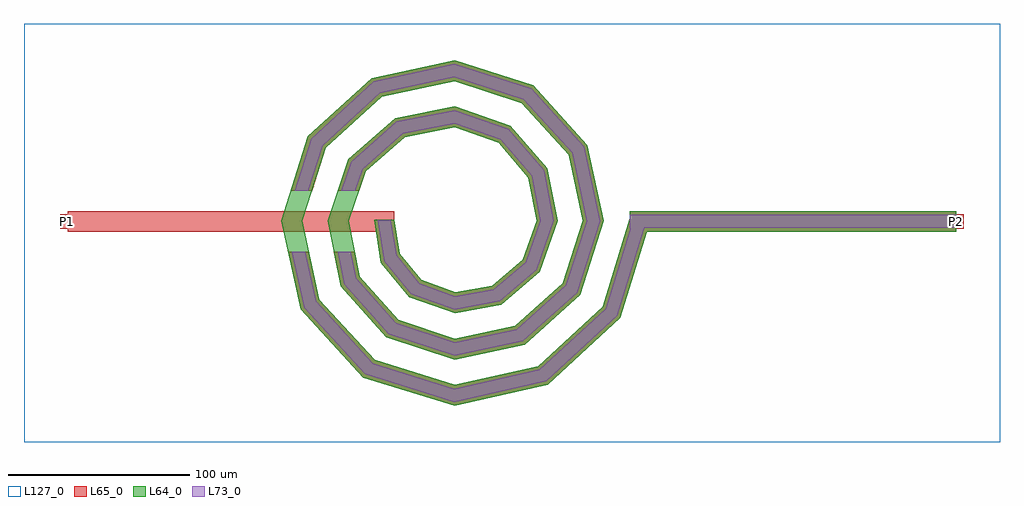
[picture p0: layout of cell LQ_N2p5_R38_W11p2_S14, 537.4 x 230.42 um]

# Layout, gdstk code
import gdstk
lib = gdstk.Library(unit=1e-6, precision=1e-09)
def R(c, l, rs):  # rectangles x0, y0, x1, y1
    for r in rs: c.add(gdstk.rectangle(r[:2], r[2:], *l))
def P(c, l, *ps):  # polygons
    for p in ps: c.add(gdstk.Polygon(p, *l))
L64_0 = (64, 0)
L65_0 = (65, 0)
L73_0 = (73, 0)
L127_0 = (127, 0)

lq_n2p5_r38_w11p2_s14 = lib.new_cell('LQ_N2p5_R38_W11p2_S14')
R(lq_n2p5_r38_w11p2_s14, L64_0, [(96.565,-5.6,276.565,5.6)])
P(lq_n2p5_r38_w11p2_s14, L64_0, [(-29.845,-17.883),(-17.99,-32.234),(0.511,-39.033),(21,-35.397),(37.713,-21.234),(45.401,0.448),(40.942,24.135),(24.465,43.203),(0.399,51.77),(-27.28,46.481),(-48.698,27.687),(-58.141,0.359),(-52.017,-30.433),(-30.902,-54.198),(0.327,-64.512),(33.592,-57.55),(59.701,-34.113),(70.883,0.299),(63.08,36.756),(37.32,65.207),(0.276,77.255),(-39.923,68.609),(-70.715,40.524),(-83.627,0.257),(-74.137,-43.093),(-43.725,-76.224),(0.24,-89.999),(46.264,-79.663),(81.735,-46.925),(96.816,1.66),(107.513,-1.66),(91.54,-53.116),(51.652,-89.933),(0.24,-101.585),(-49.943,-86.013),(-84.421,-48.451),(-95.212,0.257),(-80.485,46.772),(-45.248,78.911),(0.276,88.839),(43.603,74.955),(73.402,42.042),(82.465,0.299),(69.423,-40.437),(38.833,-67.895),(0.327,-76.091),(-37.275,-63.888),(-62.39,-35.62),(-69.717,0.359),(-58.351,34.118),(-32.401,56.888),(0.399,63.342),(30.967,52.808),(51.39,29.173),(56.966,0.448),(47.26,-27.825),(25.935,-45.897),(0.511,-50.589),(-24.696,-41.702),(-40.411,-22.679),(-43.965,0.902),(-32.911,0.902)])
R(lq_n2p5_r38_w11p2_s14, L65_0, [(-212.838,-5.6,-32.838,5.6), (96.565,-5.6,276.565,5.6), (-216.838,-4,-208.838,4), (272.565,-4,280.565,4)])
P(lq_n2p5_r38_w11p2_s14, L65_0, [(-74.137,-43.093),(-43.725,-76.224),(0.24,-89.999),(46.265,-79.663),(81.735,-46.925),(96.816,1.66),(107.513,-1.66),(91.54,-53.116),(51.652,-89.933),(0.24,-101.585),(-49.943,-86.013),(-84.421,-48.451),(-91.433,-16.8),(-79.962,-16.8)],
  [(-52.017,-30.433),(-30.903,-54.198),(0.327,-64.512),(33.592,-57.55),(59.701,-34.113),(70.883,0.299),(63.08,36.756),(37.32,65.207),(0.277,77.255),(-39.923,68.609),(-70.715,40.524),(-78.226,16.8),(-89.974,16.8),(-80.485,46.772),(-45.248,78.911),(0.277,88.839),(43.603,74.955),(73.402,42.043),(82.465,0.299),(69.423,-40.437),(38.833,-67.895),(0.327,-76.091),(-37.275,-63.889),(-62.39,-35.62),(-66.223,-16.8),(-54.793,-16.8)],
  [(-17.99,-32.234),(0.511,-39.033),(21.001,-35.397),(37.713,-21.234),(45.401,0.448),(40.942,24.135),(24.465,43.203),(0.399,51.77),(-27.28,46.481),(-48.698,27.687),(-52.364,16.8),(-64.181,16.8),(-58.351,34.118),(-32.401,56.888),(0.399,63.342),(30.967,52.808),(51.39,29.173),(56.966,0.448),(47.26,-27.825),(25.935,-45.897),(0.511,-50.589),(-24.696,-41.702),(-40.411,-22.679),(-43.965,0.902),(-32.911,0.902),(-29.845,-17.883)])
R(lq_n2p5_r38_w11p2_s14, L73_0, [(96.565,-3.6,276.565,3.6)])
P(lq_n2p5_r38_w11p2_s14, L73_0, [(-75.973,-44.05),(-44.835,-77.972),(0.154,-92.068),(47.227,-81.497),(83.486,-48.03),(98.727,1.067),(105.603,-1.067),(89.789,-52.01),(50.69,-88.099),(0.154,-99.516),(-48.833,-84.265),(-82.585,-47.494),(-89.385,-16.8),(-82.01,-16.8)],
  [(-53.869,-31.359),(-32.04,-55.928),(0.21,-66.58),(34.528,-59.397),(61.437,-35.242),(72.951,0.193),(64.924,37.7),(38.442,66.948),(0.178,79.323),(-40.874,70.449),(-72.46,41.639),(-80.324,16.8),(-87.876,16.8),(-78.74,45.656),(-44.297,77.072),(0.178,86.77),(42.481,73.214),(71.559,41.098),(80.397,0.193),(67.687,-39.308),(37.898,-66.048),(0.21,-74.023),(-36.137,-62.158),(-60.538,-34.694),(-64.182,-16.8),(-56.834,-16.8)],
  [(-19.188,-33.924),(0.329,-41.096),(21.882,-37.272),(39.418,-22.411),(47.466,0.288),(42.808,25.034),(25.626,44.918),(0.256,53.837),(-28.194,48.34),(-50.422,28.835),(-54.474,16.8),(-62.071,16.8),(-56.627,32.969),(-31.486,55.03),(0.256,61.276),(29.806,51.093),(49.524,28.273),(54.901,0.288),(45.555,-26.648),(25.054,-44.022),(0.329,-48.525),(-23.499,-40.011),(-38.524,-21.823),(-41.991,0.58),(-34.885,0.58),(-31.732,-18.74)])
R(lq_n2p5_r38_w11p2_s14, L127_0, [(-236.838,-121.585,300.565,108.839)])
lq_n2p5_r38_w11p2_s14.add(gdstk.Label('P2', (276.565,0), layer=65, texttype=0))
lq_n2p5_r38_w11p2_s14.add(gdstk.Label('P1', (-212.838,0), layer=65, texttype=0))
lq_n2p5_r38_w11p2_s14.add(gdstk.Label('P2', (280.565,0), layer=145, texttype=0))
lq_n2p5_r38_w11p2_s14.add(gdstk.Label('P1', (-216.838,0), layer=145, texttype=0))

lib.write_gds('LQ_N2p5_R38_W11p2_S14.gds')
